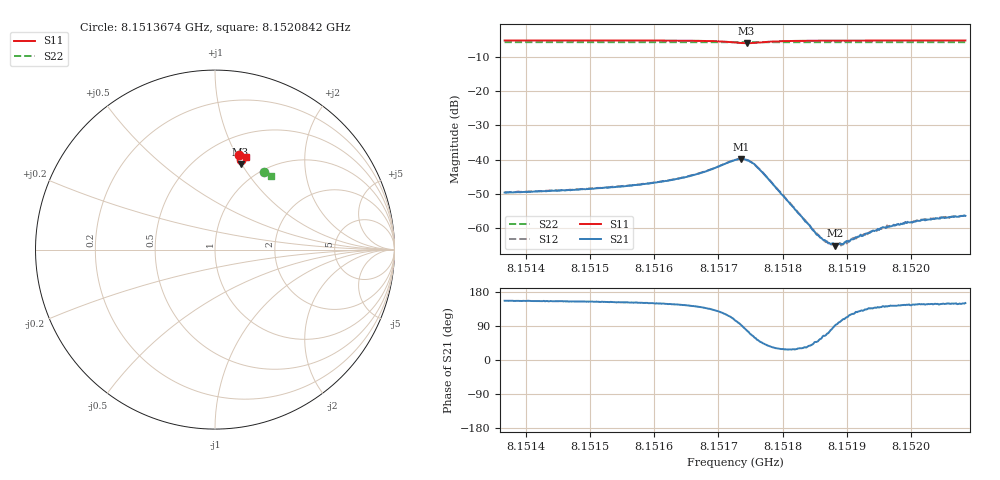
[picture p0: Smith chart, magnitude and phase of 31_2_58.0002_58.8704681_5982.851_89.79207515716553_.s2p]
#  HZ  S  RI  R  50.00
! Rohde & Schwarz Vector Network Analyzer
! Rohde-Schwarz,ZNB20-2Port,1311601062101988,3.16
! Created: UTC 3/21/2024, 12:51:41 AM
! freq[Hz]  re:S11  im:S11  re:S21  im:S21  re:S12  im:S12  re:S22  im:S22
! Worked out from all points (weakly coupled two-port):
!   401 points, 8.1513674 GHz to 8.1520842 GHz, reference 50 ohm
!   highest |S21| = -39.84 dB at 8.1517347 GHz (marker M1); lowest = -65.1 dB at 8.1518817 GHz (marker M2)
!   lowest |S11| = -6.1 dB at 8.1517437 GHz (marker M3), VSWR 2.97, Z = 39.2 + j49.5 ohm
!   |S11| at or under -10 dB: nowhere
!   |S22| runs from -5.8 to -5.8 dB; largest |S21 - S12| = 0.00035
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8.15136743e9  0.1327 0.5273  -0.00302 0.00132  -0.003 0.00138  0.2744 0.4346
8.15148748e9  0.1426 0.5246  -0.00331 0.0016  -0.00334 0.00165  0.2808 0.4303
8.15155557e9  0.1492 0.5224  -0.00361 0.00191  -0.00361 0.002  0.2845 0.4279
8.15160753e9  0.1551 0.5196  -0.00403 0.00243  -0.00401 0.00248  0.2873 0.4258
8.15166487e9  0.1639 0.5126  -0.00473 0.00378  -0.0047 0.00387  0.2903 0.4233
8.15172579e9  0.1635 0.4817  -0.00251 0.00954  -0.00254 0.00954  0.2929 0.42
8.15173475e9  0.1546 0.4761  -0.000572 0.0102  -0.000448 0.0101  0.2931 0.4196
8.15174371e9  0.1426 0.4757  0.00189 0.00958  0.00208 0.0097  0.2931 0.4196
8.15175446e9  0.1308 0.4834  0.00406 0.00774  0.00422 0.0077  0.2932 0.4197
8.151767e9  0.1262 0.4962  0.0046 0.00485  0.00473 0.00483  0.294 0.4197
8.15184584e9  0.1462 0.5193  0.000728 0.000625  0.000741 0.000642  0.2989 0.4172
8.1518548e9  0.1478 0.5197  0.000512 0.0006  0.000519 0.000609  0.2994 0.4169
8.15186376e9  0.1493 0.5198  0.000288 0.000599  0.000334 0.000578  0.2999 0.4166
8.15187272e9  0.1508 0.5198  0.000159 0.000584  0.000165 0.000583  0.3004 0.4162
8.15188168e9  0.1521 0.5199  -1.73e-05 0.000555  -3.61e-05 0.000544  0.3009 0.416
8.15189422e9  0.154 0.5198  -0.000181 0.000549  -0.000175 0.000593  0.3015 0.4155
8.15191751e9  0.1567 0.5195  -0.000465 0.000596  -0.000435 0.000605  0.3028 0.4145
8.15194081e9  0.1594 0.5192  -0.00067 0.000633  -0.000671 0.000625  0.304 0.4135
8.15195514e9  0.161 0.5189  -0.000803 0.000637  -0.00075 0.00065  0.3049 0.413
8.15196589e9  0.162 0.5188  -0.000831 0.000641  -0.000854 0.000649  0.3054 0.4125
8.15201965e9  0.1669 0.5177  -0.00112 0.000717  -0.00112 0.000723  0.3081 0.4104
8.15208415e9  0.1723 0.5164  -0.00131 0.000748  -0.00132 0.000765  0.3115 0.4079
